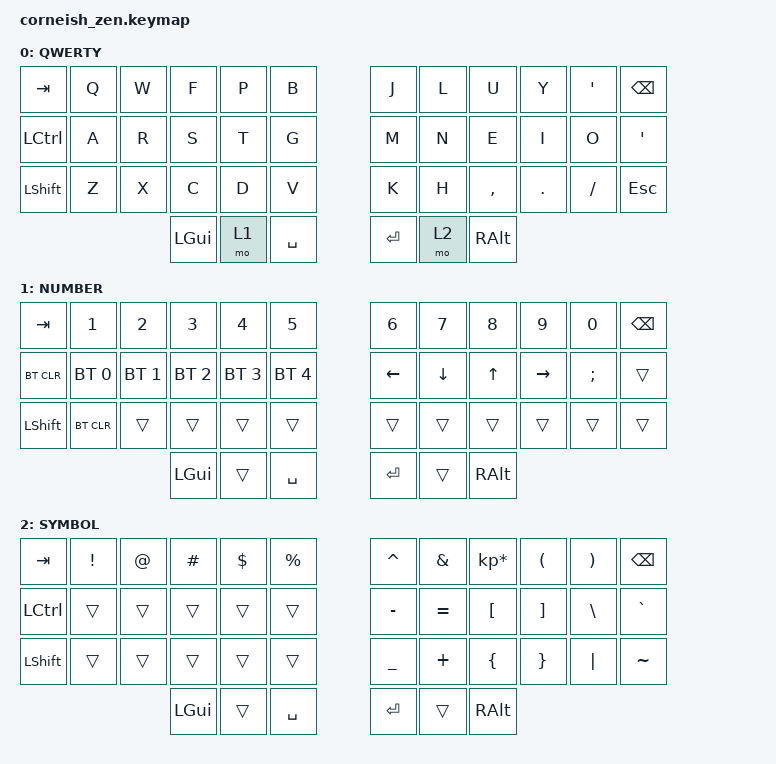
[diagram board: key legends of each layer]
#include <behaviors.dtsi>
#include <dt-bindings/zmk/keys.h>
#include <dt-bindings/zmk/bt.h>

/ {
  chosen {
    zmk,matrix_transform = &default_transform;
    //zmk,matrix_transform = &five_column_transform;
  };
};

/ {
        keymap {
                compatible = "zmk,keymap";

                default_layer {
                        label = "QWERTY";
// -----------------------------------------------------------------------------------------
// |  TAB |  Q  |  W  |  F  |  P  |  B  |   |  J  |  L   |  U  |  Y  |  O  | BKSP |
// | CTRL |  A  |  R  |  S  |  T  |  G  |   |  M  |  K   |  E  |  I  |  '  |  '   |
// | SHFT |  Z  |  X  |  C  |  D  |  V  |   |  N  |  H   |  ,  |  .  |  /  | ESC  |
//                    | GUI | LWR | SPC |   | ENT | RSE  | ALT |
                        bindings = <
   &kp TAB   &kp Q &kp W &kp F &kp P &kp B   &kp J &kp L  &kp U     &kp Y   &kp SQT    &kp BSPC
   &kp LCTRL &kp A &kp R &kp S &kp T &kp G   &kp M &kp N  &kp E     &kp I   &kp O &kp SQT
   &kp LSHFT &kp Z &kp X &kp C &kp D &kp V   &kp K &kp H  &kp COMMA &kp DOT &kp FSLH &kp ESC
                  &kp LGUI &mo 1 &kp SPACE   &kp RET &mo 2 &kp RALT
                        >;
                };
                lower_layer {
                        label = "NUMBER";
// -----------------------------------------------------------------------------------------
// |  TAB |  1  |  2  |  3  |  4  |  5  |   |  6  |  7  |  8  |  9  |  0  | BKSP |
// | BTCLR| BT1 | BT2 | BT3 | BT4 | BT5 |   | LFT | DWN |  UP | RGT |  ;  |      |
// | SHFT | BTCR|     |     |     |     |   |     |     |     |     |     |      |
//                    | GUI |     | SPC |   | ENT |     | ALT |
                        bindings = <
   &kp TAB    &kp N1       &kp N2       &kp N3       &kp N4       &kp N5         &kp N6   &kp N7   &kp N8 &kp N9    &kp N0 &kp BSPC
   &bt BT_CLR &bt BT_SEL 0 &bt BT_SEL 1 &bt BT_SEL 2 &bt BT_SEL 3 &bt BT_SEL 4   &kp LEFT &kp DOWN &kp UP &kp RIGHT &kp SEMI &trans
   &kp LSHFT  &bt BT_CLR       &trans       &trans       &trans       &trans         &trans   &trans   &trans &trans    &trans &trans
                          	        &kp LGUI     &trans       &kp SPACE      &kp RET  &trans   &kp RALT
                        >;
                };

                raise_layer {
                        label = "SYMBOL";
// -----------------------------------------------------------------------------------------
// |  TAB |  !  |  @  |  #  |  $  |  %  |   |  ^  |  &  |  *  |  (  |  )  | BKSP |
// | CTRL |     |     |     |     |     |   |  -  |  =  |  [  |  ]  |  \  |  `   |
// | SHFT |     |     |     |     |     |   |  _  |  +  |  {  |  }  | "|" |  ~   |
//                    | GUI |     | SPC |   | ENT |     | ALT |
                        bindings = <
   &kp  TAB  &kp EXCL &kp AT &kp HASH &kp DLLR &kp PRCNT   &kp CARET &kp AMPS  &kp KP_MULTIPLY &kp LPAR &kp RPAR &kp BSPC
   &kp LCTRL &trans   &trans &trans   &trans   &trans      &kp MINUS &kp EQUAL &kp LBKT        &kp RBKT &kp BSLH &kp GRAVE
   &kp LSHFT &trans   &trans &trans   &trans   &trans      &kp UNDER &kp PLUS  &kp LBRC        &kp RBRC &kp PIPE &kp TILDE
                    	     &kp LGUI &trans   &kp SPACE   &kp RET   &trans    &kp RALT
                        >;
                };
        };
};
